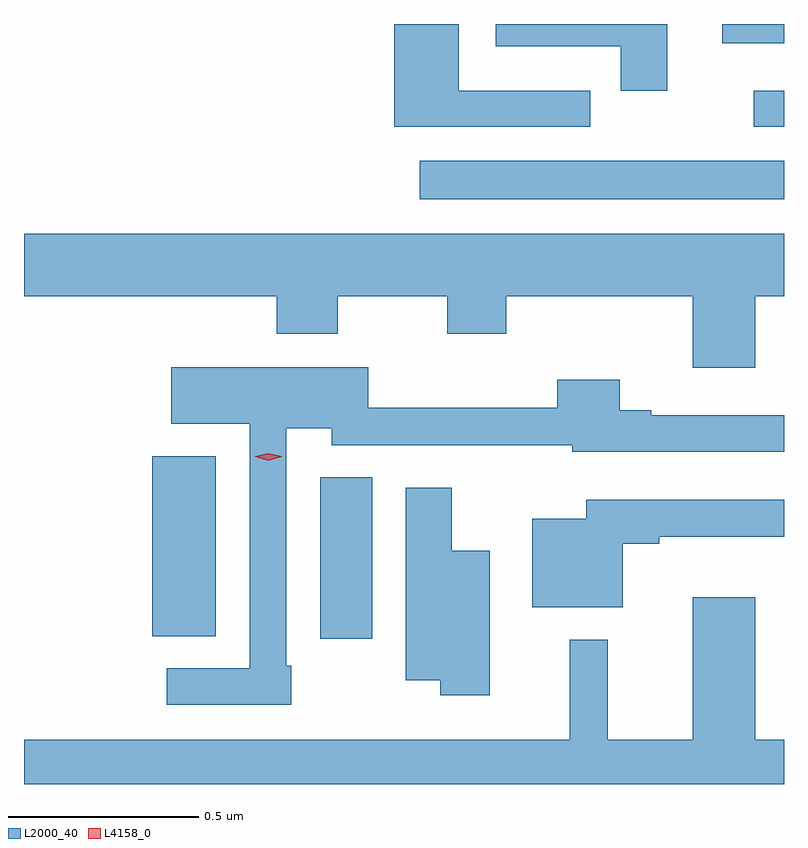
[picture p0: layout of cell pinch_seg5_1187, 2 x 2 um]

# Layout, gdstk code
import gdstk
lib = gdstk.Library(unit=1e-6, precision=1e-09)
def R(c, l, rs):  # rectangles x0, y0, x1, y1
    for r in rs: c.add(gdstk.rectangle(r[:2], r[2:], *l))
def P(c, l, *ps):  # polygons
    for p in ps: c.add(gdstk.Polygon(p, *l))
L2000_40 = (2000, 40)
L4158_0 = (4158, 0)

pinch_seg5_1187 = lib.new_cell('pinch_seg5_1187')
R(pinch_seg5_1187, L2000_40, [(883.307,842.538,883.444,842.963), (882.866,842.545,883.033,843.019), (883.569,843.695,884.528,843.796), (884.448,843.885,884.528,843.981), (884.366,844.106,884.528,844.156)])
P(pinch_seg5_1187, L2000_40, [(884.221,844.156),(883.769,844.156),(883.769,844.097),(884.099,844.097),(884.099,843.981),(884.221,843.981)],
  [(884.018,843.981),(883.672,843.981),(883.672,844.156),(883.502,844.156),(883.502,843.885),(884.018,843.885)],
  [(884.452,843.44),(884.528,843.44),(884.528,843.604),(882.528,843.604),(882.528,843.44),(883.193,843.44),(883.193,843.341),(883.353,843.341),(883.353,843.44),(883.642,843.44),(883.642,843.341),(883.797,843.341),(883.797,843.44),(884.288,843.44),(884.288,843.252),(884.452,843.252)],
  [(883.231,842.467),(883.218,842.467),(883.218,843.092),(883.338,843.092),(883.338,843.048),(883.75,843.048),(883.75,843.047),(883.971,843.047),(883.971,843.03),(884.528,843.03),(884.528,843.126),(884.179,843.126),(884.179,843.139),(884.096,843.139),(884.096,843.22),(883.931,843.22),(883.931,843.146),(883.434,843.146),(883.434,843.253),(882.915,843.253),(882.915,843.104),(883.122,843.104),(883.122,842.46),(882.903,842.46),(882.903,842.364),(883.231,842.364)],
  [(883.753,842.77),(883.654,842.77),(883.654,842.935),(883.532,842.935),(883.532,842.429),(883.624,842.429),(883.624,842.39),(883.753,842.39)],
  [(884.103,842.788),(884.2,842.788),(884.2,842.807),(884.528,842.807),(884.528,842.904),(884.007,842.904),(884.007,842.854),(883.865,842.854),(883.865,842.621),(884.103,842.621)],
  [(884.528,842.272),(884.452,842.272),(884.452,842.647),(884.288,842.647),(884.288,842.272),(884.064,842.272),(884.064,842.536),(883.964,842.536),(883.964,842.272),(882.528,842.272),(882.528,842.156),(884.528,842.156)])
P(pinch_seg5_1187, L4158_0, [(883.171,843.007),(883.136,843.017),(883.136,843.017),(883.136,843.018),(883.171,843.027),(883.206,843.018),(883.206,843.017),(883.206,843.017)])

lib.write_gds('pinch_seg5_1187.gds')
